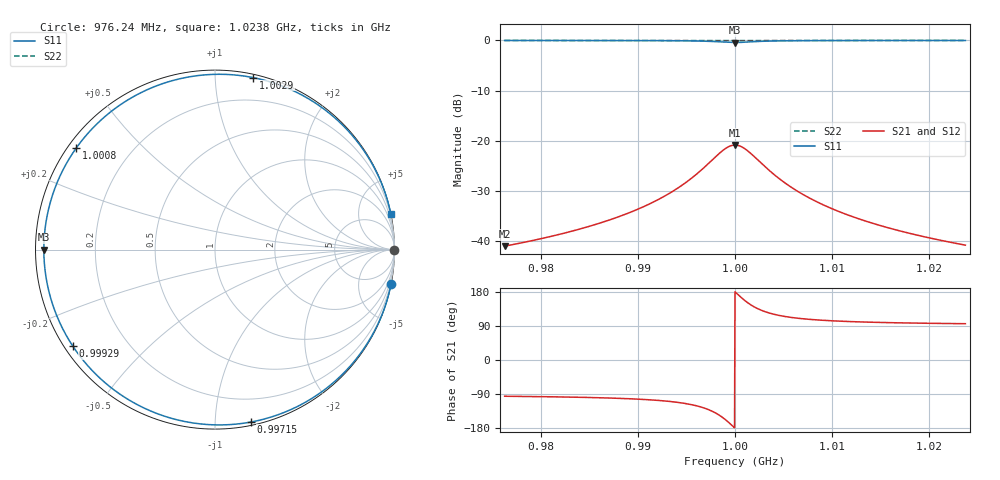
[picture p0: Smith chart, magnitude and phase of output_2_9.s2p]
! File generated for n1 = 2, n2 = 9
! b1 = 46.415888
! b2 = 0.100000
! Q0 = 10000.000000
! f0 = 1000000000.000000
! n = 1001
! rel_span = 10.000000
# Hz S RI R 50
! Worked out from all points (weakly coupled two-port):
!   1001 points, 976.24 MHz to 1.0238 GHz, reference 50 ohm
!   highest |S21| = -20.85 dB at 1 GHz (marker M1); lowest = -41.0 dB at 976.24 MHz (marker M2)
!   lowest |S11| = -0.4 dB at 1 GHz (marker M3), VSWR 42.20, Z = 1.18 + j0 ohm
!   |S11| at or under -10 dB: nowhere
!   |S22| runs from 0.0 to 0.0 dB; largest |S21 - S12| = 0
!   S11 on the Smith chart (normalised r, x): 976.24 MHz: 0, -10; 997.15 MHz: 0.02, -1.23; 999.29 MHz: 0.02, -0.31; 1.0008 GHz: 0.02, +0.33; 1.0029 GHz: 0.02, +1.25; 1.0238 GHz: 0, +10
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9.762421e8  0.9811 -0.1912  -0.000877 -0.00887  -0.000877 -0.00887  1 -0.000412
9.841772e8  0.9576 -0.2847  -0.00197 -0.0132  -0.00197 -0.0132  0.9999 -0.000613
9.886912e8  0.9183 -0.391  -0.00379 -0.0182  -0.00379 -0.0182  0.9998 -0.000842
9.921124e8  0.8387 -0.5377  -0.00749 -0.025  -0.00749 -0.025  0.9997 -0.00116
9.951534e8  0.623 -0.771  -0.0175 -0.0358  -0.0175 -0.0358  0.9992 -0.00166
9.962462e8  0.4427 -0.8822  -0.0259 -0.0409  -0.0259 -0.0409  0.9988 -0.0019
9.97149e8  0.2007 -0.9606  -0.0371 -0.0446  -0.0371 -0.0446  0.9983 -0.00207
9.983369e8  -0.3105 -0.9181  -0.0608 -0.0426  -0.0608 -0.0426  0.9972 -0.00198
9.988121e8  -0.5626 -0.7818  -0.0725 -0.0363  -0.0725 -0.0363  0.9966 -0.00168
9.992873e8  -0.7923 -0.5379  -0.0832 -0.025  -0.0832 -0.025  0.9961 -0.00116
1e9  -0.9537 0  -0.0907 0  -0.0907 0  0.9958 0
1.00038e9  -0.905 0.3047  -0.0884 0.0141  -0.0884 0.0141  0.9959 0.000657
1.00076e9  -0.7723 0.5669  -0.0823 0.0263  -0.0823 0.0263  0.9962 0.00122
1.001188e9  -0.5633 0.7812  -0.0726 0.0363  -0.0726 0.0363  0.9966 0.00168
1.001663e9  -0.3119 0.9176  -0.0609 0.0426  -0.0609 0.0426  0.9972 0.00198
1.002186e9  -0.0592 0.9734  -0.0492 0.0452  -0.0492 0.0452  0.9977 0.0021
1.002898e9  0.2135 0.9581  -0.0365 0.0445  -0.0365 0.0445  0.9983 0.00206
1.003801e9  0.4497 0.8788  -0.0255 0.0408  -0.0255 0.0408  0.9988 0.00189
1.004894e9  0.6259 0.7687  -0.0174 0.0357  -0.0174 0.0357  0.9992 0.00166
1.007935e9  0.8381 0.5386  -0.00751 0.025  -0.00751 0.025  0.9997 0.00116
1.01587e9  0.9565 0.2882  -0.00202 0.0134  -0.00202 0.0134  0.9999 0.000621
1.023758e9  0.9802 0.1957  -0.000919 0.00908  -0.000919 0.00908  1 0.000422
